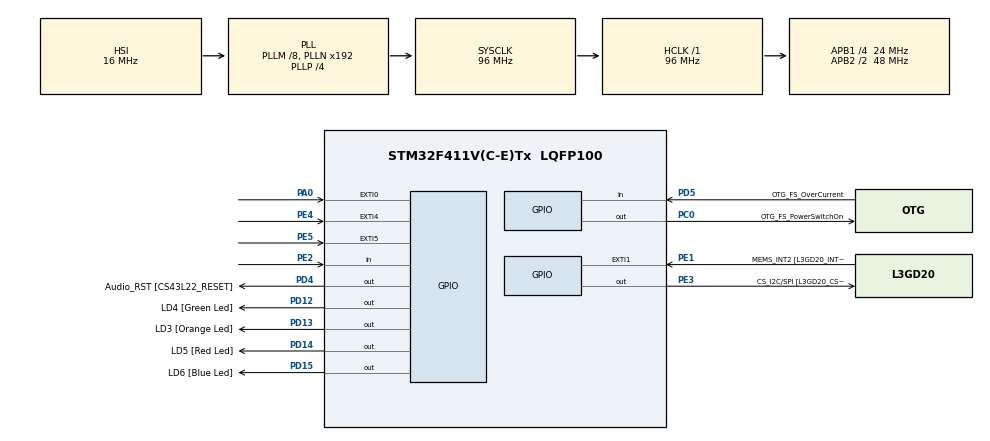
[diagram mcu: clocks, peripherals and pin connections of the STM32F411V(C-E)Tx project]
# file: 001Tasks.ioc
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Mcu.Family=STM32F4
Mcu.Name=STM32F411V(C-E)Tx
Mcu.Package=LQFP100
NVIC.PriorityGroup=NVIC_PRIORITYGROUP_4
NVIC.TIM5_IRQn=true\:0\:0\:false\:false\:true\:false\:true
NVIC.TimeBase=TIM5_IRQn
NVIC.TimeBaseIP=TIM5
PA0-WKUP.GPIO_ModeDefaultEXTI=GPIO_MODE_EVT_RISING
PA0-WKUP.Signal=GPXTI0
PA10.GPIO_Label=OTG_FS_ID
PA10.Signal=USB_OTG_FS_ID
PA11.GPIO_Label=OTG_FS_DM
PA11.Signal=USB_OTG_FS_DM
PA12.GPIO_Label=OTG_FS_DP
PA12.Signal=USB_OTG_FS_DP
PA13.GPIO_Label=SWDIO
PA13.Signal=SYS_JTMS-SWDIO
PA14.GPIO_Label=SWCLK
PA14.Signal=SYS_JTCK-SWCLK
PA4.GPIO_Label=I2S3_WS [CS43L22_LRCK]
PA4.GPIO_Mode=GPIO_MODE_AF_PP
PA4.GPIO_PuPd=GPIO_NOPULL
PA4.GPIO_Speed=GPIO_SPEED_FREQ_LOW
PA4.Signal=I2S3_WS
PA5.GPIO_Label=SPI1_SCK [L3GD20_SC/SPC]
PA5.Signal=SPI1_SCK
PA6.GPIO_Label=SPI1_MISO [L3GD20_AS0/SDO]
PA6.Signal=SPI1_MISO
PA7.GPIO_Label=SPI1_MOSI [L3GD20_SDA/SDI/SDO]
PA7.Signal=SPI1_MOSI
PA9.GPIO_Label=VBUS_FS
PA9.Signal=USB_OTG_FS_VBUS
PB10.GPIO_Label=CLK_IN [MP45DT02_CLK]
PB10.Signal=I2S2_CK
PB12.Signal=I2S2_WS
PB3.GPIO_Label=SWO
PB3.Signal=SYS_JTDO-SWO
PB6.GPIO_Label=Audio_SCL [CS43L22_SCL]
PB6.GPIO_Mode=GPIO_MODE_AF_OD
PB6.GPIO_PuPd=GPIO_NOPULL
PB6.GPIO_Speed=GPIO_SPEED_FREQ_LOW
PB6.Signal=I2C1_SCL
PB9.GPIO_Label=Audio_SDA [CS43L22_SDA]
PB9.GPIO_Mode=GPIO_MODE_AF_OD
PB9.GPIO_PuPd=GPIO_NOPULL
PB9.GPIO_Speed=GPIO_SPEED_FREQ_LOW
PB9.Signal=I2C1_SDA
PC0.GPIO_Label=OTG_FS_PowerSwitchOn
PC0.PinState=GPIO_PIN_SET
PC0.Signal=GPIO_Output
PC10.GPIO_Label=I2S3_SCK [CS43L22_SCLK]
PC10.GPIO_Mode=GPIO_MODE_AF_PP
PC10.GPIO_PuPd=GPIO_NOPULL
PC10.GPIO_Speed=GPIO_SPEED_FREQ_LOW
PC10.Signal=I2S3_CK
PC12.GPIO_Label=I2S3_SD [CS43L22_SDIN]
PC12.GPIO_Mode=GPIO_MODE_AF_PP
PC12.GPIO_PuPd=GPIO_NOPULL
PC12.GPIO_Speed=GPIO_SPEED_FREQ_LOW
PC12.Signal=I2S3_SD
PC14-OSC32_IN.GPIO_Label=PC14-OSC32_IN
PC14-OSC32_IN.Signal=RCC_OSC32_IN
PC15-OSC32_OUT.GPIO_Label=PC15-OSC32_OUT
PC15-OSC32_OUT.Signal=RCC_OSC32_OUT
PC3.GPIO_Label=PDM_OUT [MP45DT02_DOUT]
PC3.Signal=I2S2_SD
PC7.GPIO_Label=I2S3_MCK [CS43L22_MCLK]
PC7.GPIO_Mode=GPIO_MODE_AF_PP
PC7.GPIO_PuPd=GPIO_NOPULL
PC7.GPIO_Speed=GPIO_SPEED_FREQ_LOW
PC7.Signal=I2S3_MCK
PD12.GPIO_Label=LD4 [Green Led]
PD12.GPIO_PuPd=GPIO_NOPULL
PD12.GPIO_Speed=GPIO_SPEED_FREQ_LOW
PD12.Signal=GPIO_Output
PD13.GPIO_Label=LD3 [Orange Led]
PD13.GPIO_PuPd=GPIO_NOPULL
PD13.GPIO_Speed=GPIO_SPEED_FREQ_LOW
PD13.Signal=GPIO_Output
PD14.GPIO_Label=LD5 [Red Led]
PD14.GPIO_PuPd=GPIO_NOPULL
PD14.GPIO_Speed=GPIO_SPEED_FREQ_LOW
PD14.Signal=GPIO_Output
PD15.GPIO_Label=LD6 [Blue Led]
PD15.GPIO_PuPd=GPIO_NOPULL
PD15.GPIO_Speed=GPIO_SPEED_FREQ_LOW
PD15.Signal=GPIO_Output
PD4.GPIO_Label=Audio_RST [CS43L22_RESET]
PD4.Signal=GPIO_Output
PD5.GPIO_Label=OTG_FS_OverCurrent
PD5.Signal=GPIO_Input
PE1.GPIO_Label=MEMS_INT2 [L3GD20_INT2]
PE1.GPIO_ModeDefaultEXTI=GPIO_MODE_EVT_RISING
PE1.Signal=GPXTI1
PE2.Signal=GPIO_Input
PE3.GPIO_Label=CS_I2C/SPI [L3GD20_CS_I2C/SPI]
PE3.Signal=GPIO_Output
PE4.GPIO_ModeDefaultEXTI=GPIO_MODE_EVT_RISING
PE4.Signal=GPXTI4
PE5.GPIO_ModeDefaultEXTI=GPIO_MODE_EVT_RISING
PE5.Signal=GPXTI5
PH0\ -\ OSC_IN.GPIO_Label=PH0-OSC_IN
PH0\ -\ OSC_IN.Signal=RCC_OSC_IN
PH1\ -\ OSC_OUT.GPIO_Label=PH1-OSC_OUT
PH1\ -\ OSC_OUT.Signal=RCC_OSC_OUT
ProjectManager.HeapSize=0x200
ProjectManager.StackSize=0x400
ProjectManager.TargetToolchain=STM32CubeIDE
RCC.48MHZClocksFreq_Value=48000000
RCC.AHBFreq_Value=96000000
RCC.APB1CLKDivider=RCC_HCLK_DIV4
RCC.APB1Freq_Value=24000000
RCC.APB1TimFreq_Value=48000000
RCC.APB2CLKDivider=RCC_HCLK_DIV2
RCC.APB2Freq_Value=48000000
RCC.APB2TimFreq_Value=96000000
RCC.CortexFreq_Value=96000000
RCC.HCLKFreq_Value=96000000
RCC.HSE_VALUE=8000000
RCC.HSI_VALUE=16000000
RCC.LSE_VALUE=32768
RCC.PLLI2SM=5
RCC.PLLI2SN=200
RCC.PLLM=8
RCC.PLLP=RCC_PLLP_DIV4
RCC.PLLQ=8
RCC.SYSCLKFreq_VALUE=96000000
RCC.SYSCLKSource=RCC_SYSCLKSOURCE_PLLCLK
RCC.VCOOutputFreq_Value=384000000
VP_SYS_VS_tim5.Mode=TIM5
board=STM32F411E-DISCO

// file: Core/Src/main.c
/* USER CODE BEGIN Header */
/**
  ******************************************************************************
  * @file           : main.c
  * @brief          : Main program body
  ******************************************************************************
  * @attention
  *
  * Copyright (c) 2022 STMicroelectronics.
  * All rights reserved.
  *
  * This software is licensed under terms that can be found in the LICENSE file
  * in the root directory of this software component.
  * If no LICENSE file comes with this software, it is provided AS-IS.
  *
  ******************************************************************************
  */
/* USER CODE END Header */
#include "main.h"

/* USER CODE BEGIN Includes */
#include <stdio.h>
#include "FreeRTOS.h"
#include "task.h"

/* USER CODE END Includes */

/* USER CODE BEGIN PV */

#define DWT_CTRL (*(volatile uint32_t*) 0xE0001000)

/* USER CODE END PV */

void SystemClock_Config(void);
static void MX_GPIO_Init(void);
/* USER CODE BEGIN PFP */
static void task1_handler(void* params);
static void task2_handler(void* params);
/* USER CODE END PFP */

int main(void)
{
  /* USER CODE BEGIN 1 */
  TaskHandle_t task1_handle, task2_handle;
  BaseType_t status;
  /* USER CODE END 1 */

  /* MCU Configuration--------------------------------------------------------*/

  /* Reset of all peripherals, Initializes the Flash interface and the Systick. */
  HAL_Init();

  /* Configure the system clock */
  SystemClock_Config();

  /* Initialize all configured peripherals */
  MX_GPIO_Init();
  /* USER CODE BEGIN 2 */

  // Enable DWT_CYCCNT
  DWT_CTRL |= (1 << 0);

  SEGGER_SYSVIEW_Conf();

  SEGGER_SYSVIEW_Start();

  status = xTaskCreate(task1_handler, "Task-1", 200, "Hello world from Task-1", 3, &task1_handle);
  configASSERT(status == pdPASS);

  status = xTaskCreate(task2_handler, "Task-2", 200, "Hello world from Task-2", 2, &task2_handle);
  configASSERT(status == pdPASS);

  vTaskStartScheduler();

  // if the control comes here, it means that scheduler returned due to insufficient memory in a heap

  /* USER CODE END 2 */

  /* Infinite loop */
  while (1)
  {

  }
}

void SystemClock_Config(void)
{
  RCC_OscInitTypeDef RCC_OscInitStruct = {0};
  RCC_ClkInitTypeDef RCC_ClkInitStruct = {0};

  /** Configure the main internal regulator output voltage
  */
  __HAL_RCC_PWR_CLK_ENABLE();
  __HAL_PWR_VOLTAGESCALING_CONFIG(PWR_REGULATOR_VOLTAGE_SCALE1);
  /** Initializes the RCC Oscillators according to the specified parameters
  * in the RCC_OscInitTypeDef structure.
  */
  RCC_OscInitStruct.OscillatorType = RCC_OSCILLATORTYPE_HSI;
  RCC_OscInitStruct.HSIState = RCC_HSI_ON;
  RCC_OscInitStruct.HSICalibrationValue = RCC_HSICALIBRATION_DEFAULT;
  RCC_OscInitStruct.PLL.PLLState = RCC_PLL_ON;
  RCC_OscInitStruct.PLL.PLLSource = RCC_PLLSOURCE_HSI;
  RCC_OscInitStruct.PLL.PLLM = 8;
  RCC_OscInitStruct.PLL.PLLN = 192;
  RCC_OscInitStruct.PLL.PLLP = RCC_PLLP_DIV4;
  RCC_OscInitStruct.PLL.PLLQ = 8;
  if (HAL_RCC_OscConfig(&RCC_OscInitStruct) != HAL_OK)
  {
    Error_Handler();
  }
  /** Initializes the CPU, AHB and APB buses clocks
  */
  RCC_ClkInitStruct.ClockType = RCC_CLOCKTYPE_HCLK|RCC_CLOCKTYPE_SYSCLK
                              |RCC_CLOCKTYPE_PCLK1|RCC_CLOCKTYPE_PCLK2;
  RCC_ClkInitStruct.SYSCLKSource = RCC_SYSCLKSOURCE_PLLCLK;
  RCC_ClkInitStruct.AHBCLKDivider = RCC_SYSCLK_DIV1;
  RCC_ClkInitStruct.APB1CLKDivider = RCC_HCLK_DIV4;
  RCC_ClkInitStruct.APB2CLKDivider = RCC_HCLK_DIV2;

  if (HAL_RCC_ClockConfig(&RCC_ClkInitStruct, FLASH_LATENCY_3) != HAL_OK)
  {
    Error_Handler();
  }
}

static void MX_GPIO_Init(void)
{
  GPIO_InitTypeDef GPIO_InitStruct = {0};

  /* GPIO Ports Clock Enable */
  __HAL_RCC_GPIOE_CLK_ENABLE();
  __HAL_RCC_GPIOC_CLK_ENABLE();
  __HAL_RCC_GPIOH_CLK_ENABLE();
  __HAL_RCC_GPIOA_CLK_ENABLE();
  __HAL_RCC_GPIOB_CLK_ENABLE();
  __HAL_RCC_GPIOD_CLK_ENABLE();

  /*Configure GPIO pin Output Level */
  HAL_GPIO_WritePin(CS_I2C_SPI_GPIO_Port, CS_I2C_SPI_Pin, GPIO_PIN_RESET);

  /*Configure GPIO pin Output Level */
  HAL_GPIO_WritePin(OTG_FS_PowerSwitchOn_GPIO_Port, OTG_FS_PowerSwitchOn_Pin, GPIO_PIN_SET);

  /*Configure GPIO pin Output Level */
  HAL_GPIO_WritePin(GPIOD, LD4_Pin|LD3_Pin|LD5_Pin|LD6_Pin
                          |Audio_RST_Pin, GPIO_PIN_RESET);

  /*Configure GPIO pin : PE2 */
  GPIO_InitStruct.Pin = GPIO_PIN_2;
  GPIO_InitStruct.Mode = GPIO_MODE_INPUT;
  GPIO_InitStruct.Pull = GPIO_NOPULL;
  HAL_GPIO_Init(GPIOE, &GPIO_InitStruct);

  /*Configure GPIO pin : CS_I2C_SPI_Pin */
  GPIO_InitStruct.Pin = CS_I2C_SPI_Pin;
  GPIO_InitStruct.Mode = GPIO_MODE_OUTPUT_PP;
  GPIO_InitStruct.Pull = GPIO_NOPULL;
  GPIO_InitStruct.Speed = GPIO_SPEED_FREQ_LOW;
  HAL_GPIO_Init(CS_I2C_SPI_GPIO_Port, &GPIO_InitStruct);

  /*Configure GPIO pins : PE4 PE5 MEMS_INT2_Pin */
  GPIO_InitStruct.Pin = GPIO_PIN_4|GPIO_PIN_5|MEMS_INT2_Pin;
  GPIO_InitStruct.Mode = GPIO_MODE_EVT_RISING;
  GPIO_InitStruct.Pull = GPIO_NOPULL;
  HAL_GPIO_Init(GPIOE, &GPIO_InitStruct);

  /*Configure GPIO pin : OTG_FS_PowerSwitchOn_Pin */
  GPIO_InitStruct.Pin = OTG_FS_PowerSwitchOn_Pin;
  GPIO_InitStruct.Mode = GPIO_MODE_OUTPUT_PP;
  GPIO_InitStruct.Pull = GPIO_NOPULL;
  GPIO_InitStruct.Speed = GPIO_SPEED_FREQ_LOW;
  HAL_GPIO_Init(OTG_FS_PowerSwitchOn_GPIO_Port, &GPIO_InitStruct);

  /*Configure GPIO pin : PDM_OUT_Pin */
  GPIO_InitStruct.Pin = PDM_OUT_Pin;
  GPIO_InitStruct.Mode = GPIO_MODE_AF_PP;
  GPIO_InitStruct.Pull = GPIO_NOPULL;
  GPIO_InitStruct.Speed = GPIO_SPEED_FREQ_LOW;
  GPIO_InitStruct.Alternate = GPIO_AF5_SPI2;
  HAL_GPIO_Init(PDM_OUT_GPIO_Port, &GPIO_InitStruct);

  /*Configure GPIO pin : PA0 */
  GPIO_InitStruct.Pin = GPIO_PIN_0;
  GPIO_InitStruct.Mode = GPIO_MODE_EVT_RISING;
  GPIO_InitStruct.Pull = GPIO_NOPULL;
  HAL_GPIO_Init(GPIOA, &GPIO_InitStruct);

  /*Configure GPIO pin : I2S3_WS_Pin */
  GPIO_InitStruct.Pin = I2S3_WS_Pin;
  GPIO_InitStruct.Mode = GPIO_MODE_AF_PP;
  GPIO_InitStruct.Pull = GPIO_NOPULL;
  GPIO_InitStruct.Speed = GPIO_SPEED_FREQ_LOW;
  GPIO_InitStruct.Alternate = GPIO_AF6_SPI3;
  HAL_GPIO_Init(I2S3_WS_GPIO_Port, &GPIO_InitStruct);

  /*Configure GPIO pins : SPI1_SCK_Pin SPI1_MISO_Pin SPI1_MOSI_Pin */
  GPIO_InitStruct.Pin = SPI1_SCK_Pin|SPI1_MISO_Pin|SPI1_MOSI_Pin;
  GPIO_InitStruct.Mode = GPIO_MODE_AF_PP;
  GPIO_InitStruct.Pull = GPIO_NOPULL;
  GPIO_InitStruct.Speed = GPIO_SPEED_FREQ_VERY_HIGH;
  GPIO_InitStruct.Alternate = GPIO_AF5_SPI1;
  HAL_GPIO_Init(GPIOA, &GPIO_InitStruct);

  /*Configure GPIO pins : CLK_IN_Pin PB12 */
  GPIO_InitStruct.Pin = CLK_IN_Pin|GPIO_PIN_12;
  GPIO_InitStruct.Mode = GPIO_MODE_AF_PP;
  GPIO_InitStruct.Pull = GPIO_NOPULL;
  GPIO_InitStruct.Speed = GPIO_SPEED_FREQ_LOW;
  GPIO_InitStruct.Alternate = GPIO_AF5_SPI2;
  HAL_GPIO_Init(GPIOB, &GPIO_InitStruct);

  /*Configure GPIO pins : LD4_Pin LD3_Pin LD5_Pin LD6_Pin
                           Audio_RST_Pin */
  GPIO_InitStruct.Pin = LD4_Pin|LD3_Pin|LD5_Pin|LD6_Pin
                          |Audio_RST_Pin;
  GPIO_InitStruct.Mode = GPIO_MODE_OUTPUT_PP;
  GPIO_InitStruct.Pull = GPIO_NOPULL;
  GPIO_InitStruct.Speed = GPIO_SPEED_FREQ_LOW;
  HAL_GPIO_Init(GPIOD, &GPIO_InitStruct);

  /*Configure GPIO pins : I2S3_MCK_Pin I2S3_SCK_Pin I2S3_SD_Pin */
  GPIO_InitStruct.Pin = I2S3_MCK_Pin|I2S3_SCK_Pin|I2S3_SD_Pin;
  GPIO_InitStruct.Mode = GPIO_MODE_AF_PP;
  GPIO_InitStruct.Pull = GPIO_NOPULL;
  GPIO_InitStruct.Speed = GPIO_SPEED_FREQ_LOW;
  GPIO_InitStruct.Alternate = GPIO_AF6_SPI3;
  HAL_GPIO_Init(GPIOC, &GPIO_InitStruct);

  /*Configure GPIO pin : VBUS_FS_Pin */
  GPIO_InitStruct.Pin = VBUS_FS_Pin;
  GPIO_InitStruct.Mode = GPIO_MODE_INPUT;
  GPIO_InitStruct.Pull = GPIO_NOPULL;
  HAL_GPIO_Init(VBUS_FS_GPIO_Port, &GPIO_InitStruct);

  /*Configure GPIO pins : OTG_FS_ID_Pin OTG_FS_DM_Pin OTG_FS_DP_Pin */
  GPIO_InitStruct.Pin = OTG_FS_ID_Pin|OTG_FS_DM_Pin|OTG_FS_DP_Pin;
  GPIO_InitStruct.Mode = GPIO_MODE_AF_PP;
  GPIO_InitStruct.Pull = GPIO_NOPULL;
  GPIO_InitStruct.Speed = GPIO_SPEED_FREQ_VERY_HIGH;
  GPIO_InitStruct.Alternate = GPIO_AF10_OTG_FS;
  HAL_GPIO_Init(GPIOA, &GPIO_InitStruct);

  /*Configure GPIO pin : OTG_FS_OverCurrent_Pin */
  GPIO_InitStruct.Pin = OTG_FS_OverCurrent_Pin;
  GPIO_InitStruct.Mode = GPIO_MODE_INPUT;
  GPIO_InitStruct.Pull = GPIO_NOPULL;
  HAL_GPIO_Init(OTG_FS_OverCurrent_GPIO_Port, &GPIO_InitStruct);

  /*Configure GPIO pins : Audio_SCL_Pin Audio_SDA_Pin */
  GPIO_InitStruct.Pin = Audio_SCL_Pin|Audio_SDA_Pin;
  GPIO_InitStruct.Mode = GPIO_MODE_AF_OD;
  GPIO_InitStruct.Pull = GPIO_NOPULL;
  GPIO_InitStruct.Speed = GPIO_SPEED_FREQ_LOW;
  GPIO_InitStruct.Alternate = GPIO_AF4_I2C1;
  HAL_GPIO_Init(GPIOB, &GPIO_InitStruct);

}

/* USER CODE BEGIN 4 */
static void task1_handler(void* params)
{
	char msg[100];
	while(1)
	{
		printf("Hello from task-1\n");
//		snprintf(msg, 100, "%s\n", (const char*)params);
//		SEGGER_SYSVIEW_PrintfTarget(msg);
		taskYIELD();
//		vTaskDelay(3);
	}
}

static void task2_handler(void* params)
{
	char msg[100];
	while(1)
	{
		printf("Hello from task-2\n");
//		snprintf(msg, 100, "%s\n", (const char*)params);
//		SEGGER_SYSVIEW_PrintfTarget(msg);
		taskYIELD();
//		vTaskDelay(2);
	}
}
/* USER CODE END 4 */

void HAL_TIM_PeriodElapsedCallback(TIM_HandleTypeDef *htim)
{
  if (htim->Instance == TIM5) {
    HAL_IncTick();
  }
}

void Error_Handler(void)
{
  __disable_irq();
  while (1)
  {
  }
}
